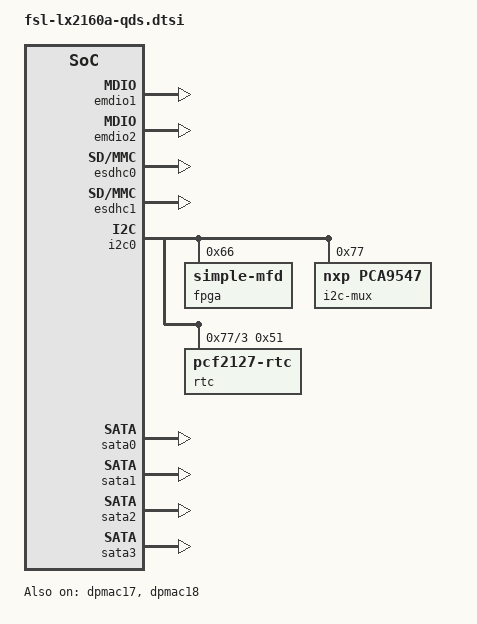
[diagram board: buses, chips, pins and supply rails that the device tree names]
// SPDX-License-Identifier: GPL-2.0+ OR X11
/*
 * NXP LX2160AQDS common device tree source
 *
 * Copyright 2018-2019 NXP
 *
 */

#include "fsl-lx2160a.dtsi"

&dpmac17 {
	status = "okay";
	phy-handle = <&rgmii_phy1>;
	phy-connection-type = "rgmii-id";
};

&dpmac18 {
	status = "okay";
	phy-handle = <&rgmii_phy2>;
	phy-connection-type = "rgmii-id";
};

&emdio1 {
	status = "okay";
};

&emdio2 {
	status = "okay";
};

&esdhc0 {
	status = "okay";
};

&esdhc1 {
	status = "okay";
};

&i2c0 {
	status = "okay";
	u-boot,dm-pre-reloc;

	fpga@66 {
		#address-cells = <1>;
		#size-cells = <0>;
		compatible = "simple-mfd";
		reg = <0x66>;

		mux-mdio@54 {
			#address-cells = <1>;
			#size-cells = <0>;
			compatible = "mdio-mux-i2creg";
			reg = <0x54>;
			#mux-control-cells = <1>;
			mux-reg-masks = <0x54 0xf8>; // reg 0x54, bits 7:3
			mdio-parent-bus = <&emdio1>;

			mdio@00 {
				#address-cells = <1>;
				#size-cells = <0>;
				reg = <0x00>;

				rgmii_phy1: ethernet-phy@1 {
					reg = <0x1>;
				};
			};
			mdio@08 {
				#address-cells = <1>;
				#size-cells = <0>;
				reg = <0x40>;

				rgmii_phy2: ethernet-phy@2 {
					reg = <0x2>;
				};
			};

			emdio1_slot1: mdio@c0 { /* I/O Slot #1 */
				reg = <0xC0>;
				device-name = "emdio1_slot1";
				#address-cells = <1>;
				#size-cells = <0>;
			};

			emdio1_slot2: mdio@c8 { /* I/O Slot #2 */
				reg = <0xC8>;
				device-name = "emdio1_slot2";
				#address-cells = <1>;
				#size-cells = <0>;
			};

			emdio1_slot3: mdio@d0 { /* I/O Slot #3 */
				reg = <0xD0>;
				device-name = "emdio1_slot3";
				#address-cells = <1>;
				#size-cells = <0>;
			};

			emdio1_slot4: mdio@d8 { /* I/O Slot #4 */
				reg = <0xD8>;
				device-name = "emdio1_slot4";
				#address-cells = <1>;
				#size-cells = <0>;
			};

			emdio1_slot5: mdio@e0 { /* I/O Slot #5 */
				reg = <0xE0>;
				device-name = "emdio1_slot5";
				#address-cells = <1>;
				#size-cells = <0>;
			};

			emdio1_slot6: mdio@e8 { /* I/O Slot #6 */
				reg = <0xE8>;
				device-name = "emdio1_slot6";
				#address-cells = <1>;
				#size-cells = <0>;
			};

			emdio1_slot7: mdio@f0 { /* I/O Slot #7 */
				reg = <0xF0>;
				device-name = "emdio1_slot7";
				#address-cells = <1>;
				#size-cells = <0>;
			};

			emdio1_slot8: mdio@f8 { /* I/O Slot #8 */
				reg = <0xF8>;
				device-name = "emdio1_slot8";
				#address-cells = <1>;
				#size-cells = <0>;
			};
		};

	};

	i2c-mux@77 {
		compatible = "nxp,pca9547";
		reg = <0x77>;
		#address-cells = <1>;
		#size-cells = <0>;

		i2c@3 {
			#address-cells = <1>;
			#size-cells = <0>;
			reg = <0x3>;

			rtc@51 {
				compatible = "pcf2127-rtc";
				reg = <0x51>;
			};
		};
	};
};

&sata0 {
	status = "okay";
};

&sata1 {
	status = "okay";
};

&sata2 {
	status = "okay";
};

&sata3 {
	status = "okay";
};
